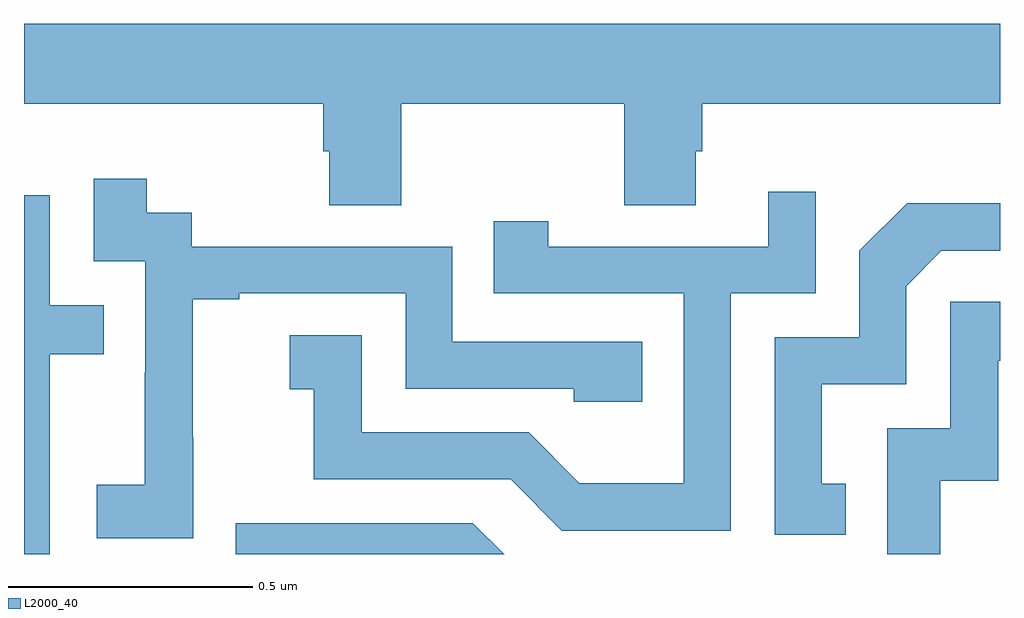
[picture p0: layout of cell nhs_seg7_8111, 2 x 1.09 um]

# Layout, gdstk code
import gdstk
lib = gdstk.Library(unit=1e-6, precision=1e-09)
def P(c, l, *ps):  # polygons
    for p in ps: c.add(gdstk.Polygon(p, *l))
L2000_40 = (2000, 40)

nhs_seg7_8111 = lib.new_cell('nhs_seg7_8111')
P(nhs_seg7_8111, L2000_40, [(220.773,1025.924),(221.23,1025.924),(221.23,1025.716),(221.377,1025.716),(221.377,1025.826),(221.39,1025.826),(221.39,1025.924),(222,1025.924),(222,1026.088),(220,1026.088),(220,1025.924),(220.613,1025.924),(220.613,1025.826),(220.625,1025.826),(220.625,1025.716),(220.773,1025.716)],
  [(220.347,1025.239),(220.346,1025.239),(220.346,1025.523),(220.441,1025.523),(220.441,1025.535),(220.782,1025.535),(220.782,1025.34),(221.127,1025.34),(221.127,1025.313),(221.267,1025.313),(221.267,1025.436),(220.878,1025.436),(220.878,1025.631),(220.344,1025.631),(220.344,1025.7),(220.252,1025.7),(220.252,1025.77),(220.143,1025.77),(220.143,1025.601),(220.248,1025.601),(220.248,1025.372),(220.247,1025.372),(220.247,1025.143),(220.149,1025.143),(220.149,1025.033),(220.347,1025.033)],
  [(221.448,1025.535),(221.622,1025.535),(221.622,1025.743),(221.525,1025.743),(221.525,1025.631),(221.074,1025.631),(221.074,1025.683),(220.963,1025.683),(220.963,1025.535),(221.352,1025.535),(221.352,1025.146),(221.138,1025.146),(221.034,1025.25),(220.692,1025.25),(220.692,1025.449),(220.545,1025.449),(220.545,1025.339),(220.594,1025.339),(220.594,1025.154),(220.997,1025.154),(221.102,1025.049),(221.448,1025.049)],
  [(220.053,1025.41),(220.163,1025.41),(220.163,1025.511),(220.053,1025.511),(220.053,1025.736),(220,1025.736),(220,1025),(220.053,1025)],
  [(221.684,1025.145),(221.635,1025.145),(221.635,1025.349),(221.808,1025.349),(221.808,1025.55),(221.88,1025.622),(222,1025.622),(222,1025.72),(221.81,1025.72),(221.712,1025.622),(221.712,1025.445),(221.538,1025.445),(221.538,1025.04),(221.684,1025.04)],
  [(221.878,1025.151),(221.996,1025.151),(221.996,1025.397),(222,1025.397),(222,1025.518),(221.898,1025.518),(221.898,1025.259),(221.769,1025.259),(221.769,1025),(221.878,1025)],
  [(220.92,1025.064),(220.434,1025.064),(220.434,1025),(220.984,1025)])

lib.write_gds('nhs_seg7_8111.gds')
